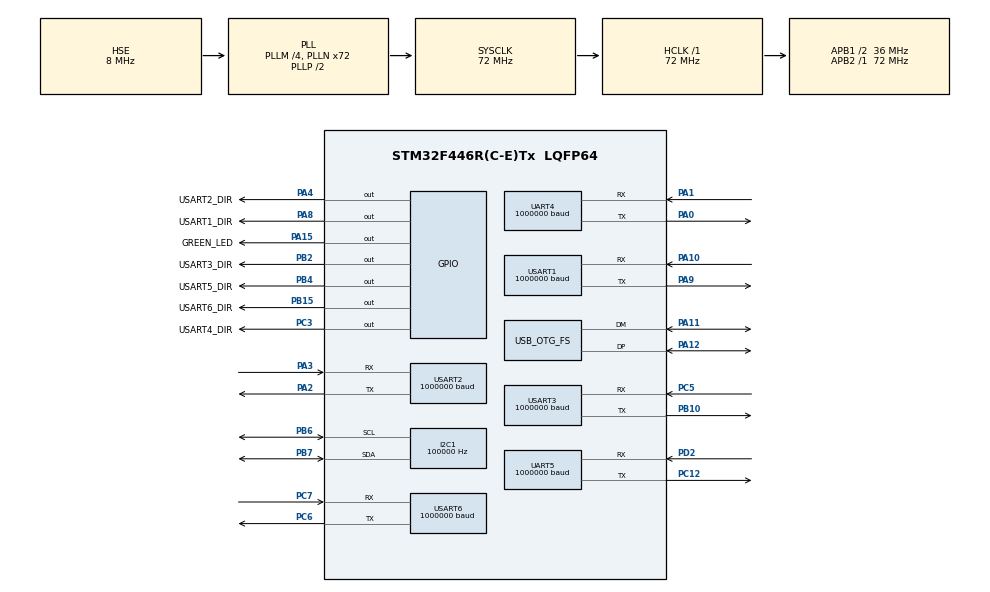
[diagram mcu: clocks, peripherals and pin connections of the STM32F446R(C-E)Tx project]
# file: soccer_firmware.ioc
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Dma.Request0=USART1_RX
Dma.Request1=UART4_RX
Dma.Request10=USART3_TX
Dma.Request11=USART6_TX
Dma.Request2=UART5_RX
Dma.Request3=USART2_RX
Dma.Request4=USART3_RX
Dma.Request5=USART6_RX
Dma.Request6=UART4_TX
Dma.Request7=UART5_TX
Dma.Request8=USART1_TX
Dma.Request9=USART2_TX
Dma.UART4_RX.1.Direction=DMA_PERIPH_TO_MEMORY
Dma.UART4_RX.1.FIFOMode=DMA_FIFOMODE_DISABLE
Dma.UART4_RX.1.Instance=DMA1_Stream2
Dma.UART4_RX.1.MemDataAlignment=DMA_MDATAALIGN_BYTE
Dma.UART4_RX.1.MemInc=DMA_MINC_ENABLE
Dma.UART4_RX.1.Mode=DMA_NORMAL
Dma.UART4_RX.1.PeriphDataAlignment=DMA_PDATAALIGN_BYTE
Dma.UART4_RX.1.PeriphInc=DMA_PINC_DISABLE
Dma.UART4_RX.1.Priority=DMA_PRIORITY_HIGH
Dma.UART4_TX.6.Direction=DMA_MEMORY_TO_PERIPH
Dma.UART4_TX.6.FIFOMode=DMA_FIFOMODE_DISABLE
Dma.UART4_TX.6.Instance=DMA1_Stream4
Dma.UART4_TX.6.MemDataAlignment=DMA_MDATAALIGN_BYTE
Dma.UART4_TX.6.MemInc=DMA_MINC_ENABLE
Dma.UART4_TX.6.Mode=DMA_NORMAL
Dma.UART4_TX.6.PeriphDataAlignment=DMA_PDATAALIGN_BYTE
Dma.UART4_TX.6.PeriphInc=DMA_PINC_DISABLE
Dma.UART4_TX.6.Priority=DMA_PRIORITY_HIGH
Dma.UART5_RX.2.Direction=DMA_PERIPH_TO_MEMORY
Dma.UART5_RX.2.FIFOMode=DMA_FIFOMODE_DISABLE
Dma.UART5_RX.2.Instance=DMA1_Stream0
Dma.UART5_RX.2.MemDataAlignment=DMA_MDATAALIGN_BYTE
Dma.UART5_RX.2.MemInc=DMA_MINC_ENABLE
Dma.UART5_RX.2.Mode=DMA_NORMAL
Dma.UART5_RX.2.PeriphDataAlignment=DMA_PDATAALIGN_BYTE
Dma.UART5_RX.2.PeriphInc=DMA_PINC_DISABLE
Dma.UART5_RX.2.Priority=DMA_PRIORITY_HIGH
Dma.UART5_TX.7.Direction=DMA_MEMORY_TO_PERIPH
Dma.UART5_TX.7.FIFOMode=DMA_FIFOMODE_DISABLE
Dma.UART5_TX.7.Instance=DMA1_Stream7
Dma.UART5_TX.7.MemDataAlignment=DMA_MDATAALIGN_BYTE
Dma.UART5_TX.7.MemInc=DMA_MINC_ENABLE
Dma.UART5_TX.7.Mode=DMA_NORMAL
Dma.UART5_TX.7.PeriphDataAlignment=DMA_PDATAALIGN_BYTE
Dma.UART5_TX.7.PeriphInc=DMA_PINC_DISABLE
Dma.UART5_TX.7.Priority=DMA_PRIORITY_HIGH
Dma.USART1_RX.0.Direction=DMA_PERIPH_TO_MEMORY
Dma.USART1_RX.0.FIFOMode=DMA_FIFOMODE_DISABLE
Dma.USART1_RX.0.Instance=DMA2_Stream2
Dma.USART1_RX.0.MemDataAlignment=DMA_MDATAALIGN_BYTE
Dma.USART1_RX.0.MemInc=DMA_MINC_ENABLE
Dma.USART1_RX.0.Mode=DMA_NORMAL
Dma.USART1_RX.0.PeriphDataAlignment=DMA_PDATAALIGN_BYTE
Dma.USART1_RX.0.PeriphInc=DMA_PINC_DISABLE
Dma.USART1_RX.0.Priority=DMA_PRIORITY_HIGH
Dma.USART1_TX.8.Direction=DMA_MEMORY_TO_PERIPH
Dma.USART1_TX.8.FIFOMode=DMA_FIFOMODE_DISABLE
Dma.USART1_TX.8.Instance=DMA2_Stream7
Dma.USART1_TX.8.MemDataAlignment=DMA_MDATAALIGN_BYTE
Dma.USART1_TX.8.MemInc=DMA_MINC_ENABLE
Dma.USART1_TX.8.Mode=DMA_NORMAL
Dma.USART1_TX.8.PeriphDataAlignment=DMA_PDATAALIGN_BYTE
Dma.USART1_TX.8.PeriphInc=DMA_PINC_DISABLE
Dma.USART1_TX.8.Priority=DMA_PRIORITY_HIGH
Dma.USART2_RX.3.Direction=DMA_PERIPH_TO_MEMORY
Dma.USART2_RX.3.FIFOMode=DMA_FIFOMODE_DISABLE
Dma.USART2_RX.3.Instance=DMA1_Stream5
Dma.USART2_RX.3.MemDataAlignment=DMA_MDATAALIGN_BYTE
Dma.USART2_RX.3.MemInc=DMA_MINC_ENABLE
Dma.USART2_RX.3.Mode=DMA_NORMAL
Dma.USART2_RX.3.PeriphDataAlignment=DMA_PDATAALIGN_BYTE
Dma.USART2_RX.3.PeriphInc=DMA_PINC_DISABLE
Dma.USART2_RX.3.Priority=DMA_PRIORITY_HIGH
Dma.USART2_TX.9.Direction=DMA_MEMORY_TO_PERIPH
Dma.USART2_TX.9.FIFOMode=DMA_FIFOMODE_DISABLE
Dma.USART2_TX.9.Instance=DMA1_Stream6
Dma.USART2_TX.9.MemDataAlignment=DMA_MDATAALIGN_BYTE
Dma.USART2_TX.9.MemInc=DMA_MINC_ENABLE
Dma.USART2_TX.9.Mode=DMA_NORMAL
Dma.USART2_TX.9.PeriphDataAlignment=DMA_PDATAALIGN_BYTE
Dma.USART2_TX.9.PeriphInc=DMA_PINC_DISABLE
Dma.USART2_TX.9.Priority=DMA_PRIORITY_HIGH
Dma.USART3_RX.4.Direction=DMA_PERIPH_TO_MEMORY
Dma.USART3_RX.4.FIFOMode=DMA_FIFOMODE_DISABLE
Dma.USART3_RX.4.Instance=DMA1_Stream1
Dma.USART3_RX.4.MemDataAlignment=DMA_MDATAALIGN_BYTE
Dma.USART3_RX.4.MemInc=DMA_MINC_ENABLE
Dma.USART3_RX.4.Mode=DMA_NORMAL
Dma.USART3_RX.4.PeriphDataAlignment=DMA_PDATAALIGN_BYTE
Dma.USART3_RX.4.PeriphInc=DMA_PINC_DISABLE
Dma.USART3_RX.4.Priority=DMA_PRIORITY_HIGH
Dma.USART3_TX.10.Direction=DMA_MEMORY_TO_PERIPH
Dma.USART3_TX.10.FIFOMode=DMA_FIFOMODE_DISABLE
Dma.USART3_TX.10.Instance=DMA1_Stream3
Dma.USART3_TX.10.MemDataAlignment=DMA_MDATAALIGN_BYTE
Dma.USART3_TX.10.MemInc=DMA_MINC_ENABLE
Dma.USART3_TX.10.Mode=DMA_NORMAL
Dma.USART3_TX.10.PeriphDataAlignment=DMA_PDATAALIGN_BYTE
Dma.USART3_TX.10.PeriphInc=DMA_PINC_DISABLE
Dma.USART3_TX.10.Priority=DMA_PRIORITY_HIGH
Dma.USART6_RX.5.Direction=DMA_PERIPH_TO_MEMORY
Dma.USART6_RX.5.FIFOMode=DMA_FIFOMODE_DISABLE
Dma.USART6_RX.5.Instance=DMA2_Stream1
Dma.USART6_RX.5.MemDataAlignment=DMA_MDATAALIGN_BYTE
Dma.USART6_RX.5.MemInc=DMA_MINC_ENABLE
Dma.USART6_RX.5.Mode=DMA_NORMAL
Dma.USART6_RX.5.PeriphDataAlignment=DMA_PDATAALIGN_BYTE
Dma.USART6_RX.5.PeriphInc=DMA_PINC_DISABLE
Dma.USART6_RX.5.Priority=DMA_PRIORITY_HIGH
Dma.USART6_TX.11.Direction=DMA_MEMORY_TO_PERIPH
Dma.USART6_TX.11.FIFOMode=DMA_FIFOMODE_DISABLE
Dma.USART6_TX.11.Instance=DMA2_Stream6
Dma.USART6_TX.11.MemDataAlignment=DMA_MDATAALIGN_BYTE
Dma.USART6_TX.11.MemInc=DMA_MINC_ENABLE
Dma.USART6_TX.11.Mode=DMA_NORMAL
Dma.USART6_TX.11.PeriphDataAlignment=DMA_PDATAALIGN_BYTE
Dma.USART6_TX.11.PeriphInc=DMA_PINC_DISABLE
Dma.USART6_TX.11.Priority=DMA_PRIORITY_HIGH
I2C1.ClockSpeed=100000
Mcu.Family=STM32F4
Mcu.Name=STM32F446R(C-E)Tx
Mcu.Package=LQFP64
NVIC.DMA1_Stream0_IRQn=true\:0\:0\:false\:false\:true\:false\:true\:true
NVIC.DMA1_Stream1_IRQn=true\:0\:0\:false\:false\:true\:false\:true\:true
NVIC.DMA1_Stream2_IRQn=true\:0\:0\:false\:false\:true\:false\:true\:true
NVIC.DMA1_Stream3_IRQn=true\:0\:0\:false\:false\:true\:false\:true\:true
NVIC.DMA1_Stream4_IRQn=true\:0\:0\:false\:false\:true\:false\:true\:true
NVIC.DMA1_Stream5_IRQn=true\:0\:0\:false\:false\:true\:false\:true\:true
NVIC.DMA1_Stream6_IRQn=true\:0\:0\:false\:false\:true\:false\:true\:true
NVIC.DMA1_Stream7_IRQn=true\:0\:0\:false\:false\:true\:false\:true\:true
NVIC.DMA2_Stream1_IRQn=true\:0\:0\:false\:false\:true\:false\:true\:true
NVIC.DMA2_Stream2_IRQn=true\:0\:0\:false\:false\:true\:false\:true\:true
NVIC.DMA2_Stream6_IRQn=true\:0\:0\:false\:false\:true\:false\:true\:true
NVIC.DMA2_Stream7_IRQn=true\:0\:0\:false\:false\:true\:false\:true\:true
NVIC.I2C1_EV_IRQn=true\:0\:0\:false\:false\:true\:true\:true\:true
NVIC.OTG_FS_IRQn=true\:0\:0\:false\:false\:true\:false\:true\:true
NVIC.PriorityGroup=NVIC_PRIORITYGROUP_4
PA0-WKUP.Mode=Asynchronous
PA0-WKUP.Signal=UART4_TX
PA1.Mode=Asynchronous
PA1.Signal=UART4_RX
PA10.Mode=Asynchronous
PA10.Signal=USART1_RX
PA11.Mode=Device_Only
PA11.Signal=USB_OTG_FS_DM
PA12.Mode=Device_Only
PA12.Signal=USB_OTG_FS_DP
PA13.Mode=Serial_Wire
PA13.Signal=SYS_JTMS-SWDIO
PA14.Mode=Serial_Wire
PA14.Signal=SYS_JTCK-SWCLK
PA15.GPIO_Label=GREEN_LED
PA15.Signal=GPIO_Output
PA2.Mode=Asynchronous
PA2.Signal=USART2_TX
PA3.Mode=Asynchronous
PA3.Signal=USART2_RX
PA4.GPIO_Label=USART2_DIR
PA4.Signal=GPIO_Output
PA8.GPIO_Label=USART1_DIR
PA8.Signal=GPIO_Output
PA9.Mode=Asynchronous
PA9.Signal=USART1_TX
PB10.Mode=Asynchronous
PB10.Signal=USART3_TX
PB15.GPIO_Label=USART6_DIR
PB15.Signal=GPIO_Output
PB2.GPIO_Label=USART3_DIR
PB2.Signal=GPIO_Output
PB4.GPIO_Label=USART5_DIR
PB4.Signal=GPIO_Output
PB6.Mode=I2C
PB6.Signal=I2C1_SCL
PB7.Mode=I2C
PB7.Signal=I2C1_SDA
PC12.Mode=Asynchronous
PC12.Signal=UART5_TX
PC3.GPIO_Label=USART4_DIR
PC3.Signal=GPIO_Output
PC5.Mode=Asynchronous
PC5.Signal=USART3_RX
PC6.Mode=Asynchronous
PC6.Signal=USART6_TX
PC7.Mode=Asynchronous
PC7.Signal=USART6_RX
PD2.Mode=Asynchronous
PD2.Signal=UART5_RX
PH0-OSC_IN.Mode=HSE-External-Oscillator
PH0-OSC_IN.Signal=RCC_OSC_IN
PH1-OSC_OUT.Mode=HSE-External-Oscillator
PH1-OSC_OUT.Signal=RCC_OSC_OUT
ProjectManager.HeapSize=0x200
ProjectManager.StackSize=0x400
ProjectManager.TargetToolchain=STM32CubeIDE
RCC.AHBFreq_Value=72000000
RCC.APB1CLKDivider=RCC_HCLK_DIV2
RCC.APB1Freq_Value=36000000
RCC.APB1TimFreq_Value=72000000
RCC.APB2Freq_Value=72000000
RCC.APB2TimFreq_Value=72000000
RCC.CortexFreq_Value=72000000
RCC.HCLKFreq_Value=72000000
RCC.HSE_VALUE=8000000
RCC.PLLM=4
RCC.PLLN=72
RCC.PLLQ=3
RCC.SYSCLKFreq_VALUE=72000000
RCC.SYSCLKSource=RCC_SYSCLKSOURCE_PLLCLK
RCC.USBFreq_Value=48000000
RCC.VCOOutputFreq_Value=144000000
UART4.BaudRate=1000000
UART4.VirtualMode=Asynchronous
UART5.BaudRate=1000000
UART5.VirtualMode=Asynchronous
USART1.BaudRate=1000000
USART1.VirtualMode=VM_ASYNC
USART2.BaudRate=1000000
USART2.VirtualMode=VM_ASYNC
USART3.BaudRate=1000000
USART3.VirtualMode=VM_ASYNC
USART6.BaudRate=1000000
USART6.VirtualMode=VM_ASYNC
USB_DEVICE.CLASS_NAME_FS=CDC
USB_DEVICE.VirtualMode-CDC_FS=Cdc
USB_DEVICE.VirtualModeFS=Cdc_FS
USB_OTG_FS.VirtualMode=Device_Only
VP_USB_DEVICE_VS_USB_DEVICE_CDC_FS.Mode=CDC_FS
board=custom

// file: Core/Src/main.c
/* USER CODE BEGIN Header */
/**
  ******************************************************************************
  * @file           : main.c
  * @brief          : Main program body
  ******************************************************************************
  * @attention
  *
  * Copyright (c) 2023 STMicroelectronics.
  * All rights reserved.
  *
  * This software is licensed under terms that can be found in the LICENSE file
  * in the root directory of this software component.
  * If no LICENSE file comes with this software, it is provided AS-IS.
  *
  ******************************************************************************
  */
/* USER CODE END Header */
#include "main.h"
#include "usb_device.h"

/* USER CODE BEGIN Includes */
#include "BMI088.h"
/* USER CODE END Includes */

I2C_HandleTypeDef hi2c1;

UART_HandleTypeDef huart4;
UART_HandleTypeDef huart5;
UART_HandleTypeDef huart1;
UART_HandleTypeDef huart2;
UART_HandleTypeDef huart3;
UART_HandleTypeDef huart6;
DMA_HandleTypeDef hdma_uart4_rx;
DMA_HandleTypeDef hdma_uart4_tx;
DMA_HandleTypeDef hdma_uart5_rx;
DMA_HandleTypeDef hdma_uart5_tx;
DMA_HandleTypeDef hdma_usart1_rx;
DMA_HandleTypeDef hdma_usart1_tx;
DMA_HandleTypeDef hdma_usart2_rx;
DMA_HandleTypeDef hdma_usart2_tx;
DMA_HandleTypeDef hdma_usart3_rx;
DMA_HandleTypeDef hdma_usart3_tx;
DMA_HandleTypeDef hdma_usart6_rx;
DMA_HandleTypeDef hdma_usart6_tx;

/* USER CODE BEGIN PV */
uint8_t usb_received = false;
uint32_t usbRxBufferCount = 0;
uint32_t usbRxBufferSize = 0;
uint8_t usbRxBuffer[100];

MotorPort* motorPorts[6];
MotorPort port1, port2, port3, port4, port5, port6;
/* USER CODE END PV */

void SystemClock_Config(void);
static void MX_GPIO_Init(void);
static void MX_DMA_Init(void);
static void MX_UART4_Init(void);
static void MX_UART5_Init(void);
static void MX_USART1_UART_Init(void);
static void MX_USART2_UART_Init(void);
static void MX_USART3_UART_Init(void);
static void MX_USART6_UART_Init(void);
static void MX_I2C1_Init(void);

/* USER CODE BEGIN 0 */
// test various functionalities
void init_ports() {
  // port1 => UART1 ==> J2 on new PCB
  port1 = (MotorPort){
    .huart          = &huart1,
    .hdma_uart_tx   = &hdma_usart1_tx,
    .hdma_uart_rx   = &hdma_usart1_rx ,
    .pinPort        = USART1_DIR_GPIO_Port,
    .dirPinNum      = USART1_DIR_Pin,
    .dmaDoneReading = false,
    .currMotor      = 0,
    .numMotors      = 5,
    .motorIds       = {0, 1, 18, 16, 17}, // left arm chain + bottom neck motor
    .protocol       = {2, 2, 2, 2, 2}
  };

  // port2 => UART2 ==> J7 on new PCB
  port2 = (MotorPort){
      .huart          = &huart2,
      .hdma_uart_tx   = &hdma_usart2_tx,
      .hdma_uart_rx   = &hdma_usart2_rx ,
      .pinPort        = USART2_DIR_GPIO_Port,
      .dirPinNum      = USART2_DIR_Pin,
      .dmaDoneReading = false,
      .currMotor      = 0,
      .numMotors      = 3,
      .motorIds       = {2, 3, 19}, // right arm chain + top neck motor
      .protocol       = {2, 2, 2}
    };

  // port3 => UART3 ==> J12 on new PCB
  port3 = (MotorPort){
      .huart          = &huart3,
      .hdma_uart_tx   = &hdma_usart3_tx,
      .hdma_uart_rx   = &hdma_usart3_rx ,
      .pinPort        = USART3_DIR_GPIO_Port,
      .dirPinNum      = USART3_DIR_Pin,
      .dmaDoneReading = false,
      .numMotors      = 3,
      .motorIds       = {4, 5, 6}, // left hip
      .protocol       = {2, 2, 2}
    };

  // port4 => UART4 ==> J3 on new PCB
  port4 = (MotorPort){
      .huart          = &huart4,
      .hdma_uart_tx   = &hdma_uart4_tx,
      .hdma_uart_rx   = &hdma_uart4_rx ,
      .pinPort        = USART4_DIR_GPIO_Port,
      .dirPinNum      = USART4_DIR_Pin,
      .dmaDoneReading = false,
      .numMotors      = 3,
      .motorIds       = {7, 8, 9}, // left leg
      .protocol       = {2, 2, 2}
    };

  // port5 => UART5 ==> J6 on new PCB
  port5 = (MotorPort){
      .huart          = &huart5,
      .hdma_uart_tx   = &hdma_uart5_tx,
      .hdma_uart_rx   = &hdma_uart5_rx,
      .pinPort        = USART5_DIR_GPIO_Port,
      .dirPinNum      = USART5_DIR_Pin,
      .dmaDoneReading = false,
      .numMotors      = 3,
      .motorIds       = {10, 11, 12}, // right hip
      .protocol       = {2,2,2}
    };

  // port6 => UART6 ==> J11 on new PCB
  port6 = (MotorPort){
      .huart          = &huart6,
      .hdma_uart_tx   = &hdma_usart6_tx,
      .hdma_uart_rx   = &hdma_usart6_rx ,
      .pinPort        = USART6_DIR_GPIO_Port,
      .dirPinNum      = USART6_DIR_Pin,
      .dmaDoneReading = false,
      .numMotors      = 3,
      .motorIds       = {13, 14, 15}, // right leg
      .protocol       = {2, 2, 2}
    };

  motorPorts[0] = &port1;
  motorPorts[1] = &port2;
  motorPorts[2] = &port3;
  motorPorts[3] = &port4;
  motorPorts[4] = &port5;
  motorPorts[5] = &port6;
}

void init_motors() {
  for(uint8_t p = 0; p < 6; p++)
  {
	  uint8_t numMotors = motorPorts[p]->numMotors;
	  for(uint8_t m = 0; m < numMotors; m++)
	  {
	    uint8_t motorId = motorPorts[p]->motorIds[m];
	    uint8_t protocol = motorPorts[p]->protocol[m];

		// Enable Torques
		if(protocol == 1)
		  motor_torque_en_p1(motorPorts[p], motorId, 1);
		else
		  motor_torque_en_p2(motorPorts[p], motorId, 1);

		HAL_Delay(20);
	  }

  // TODO: set PIDs

  // TODO: response latency

  // TODO: zero motors
  // slowly bring motors to zero position
  }
}

/* USER CODE END 0 */

int main(void)
{

  /* MCU Configuration--------------------------------------------------------*/

  /* Reset of all peripherals, Initializes the Flash interface and the Systick. */
  HAL_Init();

  /* Configure the system clock */
  SystemClock_Config();

  /* Initialize all configured peripherals */
  MX_GPIO_Init();
  MX_DMA_Init();
  MX_USB_DEVICE_Init();
  MX_UART4_Init();
  MX_UART5_Init();
  MX_USART1_UART_Init();
  MX_USART2_UART_Init();
  MX_USART3_UART_Init();
  MX_USART6_UART_Init();
  MX_I2C1_Init();
  /* USER CODE BEGIN 2 */
  // give some time for motors to power on and initialize, before we try to talk to them
  HAL_Delay(1000);

  init_ports();
//  MPU6050_init();
  init_motors();

  BMI088 imu;
  BMI088_Init(&imu, &hi2c1);

//  uint16_t angle = 0;
//  uint16_t angle_lo = 0;
//  uint16_t angle_hi = 0;

  /* USER CODE END 2 */

  /* Infinite loop */
  /* USER CODE BEGIN WHILE */
  while (1)
  {

      update();

//    angle += 1;
//    angle %= 0x3FF;
//    angle_lo = angle & 0xFF;
//    angle_hi = (angle >> 8) & 0xFF;
//
//    write_goal_position_p2(motorPorts[4], 1, angle);
//    write_goal_position_p2(motorPorts[4], 32, angle);
//    write_goal_position_p2(motorPorts[4], 27, angle);
//
//    write_goal_position_p2(motorPorts[3], 3, angle);
//    write_goal_position_p2(motorPorts[3], 4, angle); // range 212 - 122
//    write_goal_position_p2(motorPorts[3], 10, angle);
//
//    write_goal_position_p2(motorPorts[2], 1, angle);
//    write_goal_position_p2(motorPorts[2], 22, angle);
//    write_goal_position_p2(motorPorts[2], 21, angle);
//
//    write_goal_position_p2(motorPorts[1], 26, angle);
//    write_goal_position_p2(motorPorts[1], 31, angle);
//    write_goal_position_p2(motorPorts[1], 30, angle);
//
//    write_goal_position_p2(motorPorts[0], 23, angle);
//    write_goal_position_p2(motorPorts[0], 24, angle);
//    write_goal_position_p2(motorPorts[0], 28, angle);
//    write_goal_position_p2(motorPorts[0], 29, angle);
//    write_goal_position_p2(motorPorts[0], 34, angle);
//    write_goal_position_p2(motorPorts[0], 33, angle);

//    // test Dynamixel 2.0
//    test_led_p2(&port6, 0x1);
//    test_motor_sweep2(&port6);
//    HAL_Delay(9000);

//    test_led_p2(&port4, 0x1);
//    test_motor_sweep2(&port4);
//    test_ping2(&port2);
//    motor_torque_en_p2(&port2, 0xfe, 0);
//    update_baud_rate_p2(&port2, 0x1, 3);
//    update_motor_id_p2(&port2, 0x1, 0x3);
//    test_led_p2(&port2);
//    read_motor_present_position(&port2, 0x1);
//    update_motor_id_p2(&port2, 0x1, 0x2);
//    read_motor_id(&port2);
//    uint8_t a1 = port2.rxBuffer[9];
//    uint8_t a2 = port2.rxBuffer[10];
//    uint8_t a3 = port2.rxBuffer[11];
//    uint8_t a4 = port2.rxBuffer[12];
//    _motor_get_status_p2(&port2, 11);
//    while(port2.dmaDoneReading == false){
//    }
//    port2.rxBuffer[0];
//    HAL_Delay(100);

    // test Dynamixel 1.0
//    test_motor_sweep1(&port2, 13);
//    _motor_ping_p1(&port6, 13);
//	  HAL_GPIO_TogglePin(GPIOA, GREEN_LED_Pin);
//	  HAL_Delay(50);
    /* USER CODE END WHILE */

  }
}

void SystemClock_Config(void)
{
  RCC_OscInitTypeDef RCC_OscInitStruct = {0};
  RCC_ClkInitTypeDef RCC_ClkInitStruct = {0};

  /** Configure the main internal regulator output voltage
  */
  __HAL_RCC_PWR_CLK_ENABLE();
  __HAL_PWR_VOLTAGESCALING_CONFIG(PWR_REGULATOR_VOLTAGE_SCALE3);

  /** Initializes the RCC Oscillators according to the specified parameters
  * in the RCC_OscInitTypeDef structure.
  */
  RCC_OscInitStruct.OscillatorType = RCC_OSCILLATORTYPE_HSE;
  RCC_OscInitStruct.HSEState = RCC_HSE_ON;
  RCC_OscInitStruct.PLL.PLLState = RCC_PLL_ON;
  RCC_OscInitStruct.PLL.PLLSource = RCC_PLLSOURCE_HSE;
  RCC_OscInitStruct.PLL.PLLM = 4;
  RCC_OscInitStruct.PLL.PLLN = 72;
  RCC_OscInitStruct.PLL.PLLP = RCC_PLLP_DIV2;
  RCC_OscInitStruct.PLL.PLLQ = 3;
  RCC_OscInitStruct.PLL.PLLR = 2;
  if (HAL_RCC_OscConfig(&RCC_OscInitStruct) != HAL_OK)
  {
    Error_Handler();
  }

  /** Initializes the CPU, AHB and APB buses clocks
  */
  RCC_ClkInitStruct.ClockType = RCC_CLOCKTYPE_HCLK|RCC_CLOCKTYPE_SYSCLK
                              |RCC_CLOCKTYPE_PCLK1|RCC_CLOCKTYPE_PCLK2;
  RCC_ClkInitStruct.SYSCLKSource = RCC_SYSCLKSOURCE_PLLCLK;
  RCC_ClkInitStruct.AHBCLKDivider = RCC_SYSCLK_DIV1;
  RCC_ClkInitStruct.APB1CLKDivider = RCC_HCLK_DIV2;
  RCC_ClkInitStruct.APB2CLKDivider = RCC_HCLK_DIV1;

  if (HAL_RCC_ClockConfig(&RCC_ClkInitStruct, FLASH_LATENCY_2) != HAL_OK)
  {
    Error_Handler();
  }
}

static void MX_I2C1_Init(void)
{

  hi2c1.Instance = I2C1;
  hi2c1.Init.ClockSpeed = 100000;
  hi2c1.Init.DutyCycle = I2C_DUTYCYCLE_2;
  hi2c1.Init.OwnAddress1 = 0;
  hi2c1.Init.AddressingMode = I2C_ADDRESSINGMODE_7BIT;
  hi2c1.Init.DualAddressMode = I2C_DUALADDRESS_DISABLE;
  hi2c1.Init.OwnAddress2 = 0;
  hi2c1.Init.GeneralCallMode = I2C_GENERALCALL_DISABLE;
  hi2c1.Init.NoStretchMode = I2C_NOSTRETCH_DISABLE;
  if (HAL_I2C_Init(&hi2c1) != HAL_OK)
  {
    Error_Handler();
  }

}

static void MX_UART4_Init(void)
{

  huart4.Instance = UART4;
  huart4.Init.BaudRate = 1000000;
  huart4.Init.WordLength = UART_WORDLENGTH_8B;
  huart4.Init.StopBits = UART_STOPBITS_1;
  huart4.Init.Parity = UART_PARITY_NONE;
  huart4.Init.Mode = UART_MODE_TX_RX;
  huart4.Init.HwFlowCtl = UART_HWCONTROL_NONE;
  huart4.Init.OverSampling = UART_OVERSAMPLING_16;
  if (HAL_UART_Init(&huart4) != HAL_OK)
  {
    Error_Handler();
  }

}

static void MX_UART5_Init(void)
{

  huart5.Instance = UART5;
  huart5.Init.BaudRate = 1000000;
  huart5.Init.WordLength = UART_WORDLENGTH_8B;
  huart5.Init.StopBits = UART_STOPBITS_1;
  huart5.Init.Parity = UART_PARITY_NONE;
  huart5.Init.Mode = UART_MODE_TX_RX;
  huart5.Init.HwFlowCtl = UART_HWCONTROL_NONE;
  huart5.Init.OverSampling = UART_OVERSAMPLING_16;
  if (HAL_UART_Init(&huart5) != HAL_OK)
  {
    Error_Handler();
  }

}

static void MX_USART1_UART_Init(void)
{

  huart1.Instance = USART1;
  huart1.Init.BaudRate = 1000000;
  huart1.Init.WordLength = UART_WORDLENGTH_8B;
  huart1.Init.StopBits = UART_STOPBITS_1;
  huart1.Init.Parity = UART_PARITY_NONE;
  huart1.Init.Mode = UART_MODE_TX_RX;
  huart1.Init.HwFlowCtl = UART_HWCONTROL_NONE;
  huart1.Init.OverSampling = UART_OVERSAMPLING_16;
  if (HAL_UART_Init(&huart1) != HAL_OK)
  {
    Error_Handler();
  }

}

static void MX_USART2_UART_Init(void)
{

  huart2.Instance = USART2;
  huart2.Init.BaudRate = 1000000;
  huart2.Init.WordLength = UART_WORDLENGTH_8B;
  huart2.Init.StopBits = UART_STOPBITS_1;
  huart2.Init.Parity = UART_PARITY_NONE;
  huart2.Init.Mode = UART_MODE_TX_RX;
  huart2.Init.HwFlowCtl = UART_HWCONTROL_NONE;
  huart2.Init.OverSampling = UART_OVERSAMPLING_16;
  if (HAL_UART_Init(&huart2) != HAL_OK)
  {
    Error_Handler();
  }

}

static void MX_USART3_UART_Init(void)
{

  huart3.Instance = USART3;
  huart3.Init.BaudRate = 1000000;
  huart3.Init.WordLength = UART_WORDLENGTH_8B;
  huart3.Init.StopBits = UART_STOPBITS_1;
  huart3.Init.Parity = UART_PARITY_NONE;
  huart3.Init.Mode = UART_MODE_TX_RX;
  huart3.Init.HwFlowCtl = UART_HWCONTROL_NONE;
  huart3.Init.OverSampling = UART_OVERSAMPLING_16;
  if (HAL_UART_Init(&huart3) != HAL_OK)
  {
    Error_Handler();
  }

}

static void MX_USART6_UART_Init(void)
{

  huart6.Instance = USART6;
  huart6.Init.BaudRate = 1000000;
  huart6.Init.WordLength = UART_WORDLENGTH_8B;
  huart6.Init.StopBits = UART_STOPBITS_1;
  huart6.Init.Parity = UART_PARITY_NONE;
  huart6.Init.Mode = UART_MODE_TX_RX;
  huart6.Init.HwFlowCtl = UART_HWCONTROL_NONE;
  huart6.Init.OverSampling = UART_OVERSAMPLING_16;
  if (HAL_UART_Init(&huart6) != HAL_OK)
  {
    Error_Handler();
  }

}

static void MX_DMA_Init(void)
{

  /* DMA controller clock enable */
  __HAL_RCC_DMA2_CLK_ENABLE();
  __HAL_RCC_DMA1_CLK_ENABLE();

  /* DMA interrupt init */
  /* DMA1_Stream0_IRQn interrupt configuration */
  HAL_NVIC_SetPriority(DMA1_Stream0_IRQn, 0, 0);
  HAL_NVIC_EnableIRQ(DMA1_Stream0_IRQn);
  /* DMA1_Stream1_IRQn interrupt configuration */
  HAL_NVIC_SetPriority(DMA1_Stream1_IRQn, 0, 0);
  HAL_NVIC_EnableIRQ(DMA1_Stream1_IRQn);
  /* DMA1_Stream2_IRQn interrupt configuration */
  HAL_NVIC_SetPriority(DMA1_Stream2_IRQn, 0, 0);
  HAL_NVIC_EnableIRQ(DMA1_Stream2_IRQn);
  /* DMA1_Stream3_IRQn interrupt configuration */
  HAL_NVIC_SetPriority(DMA1_Stream3_IRQn, 0, 0);
  HAL_NVIC_EnableIRQ(DMA1_Stream3_IRQn);
  /* DMA1_Stream4_IRQn interrupt configuration */
  HAL_NVIC_SetPriority(DMA1_Stream4_IRQn, 0, 0);
  HAL_NVIC_EnableIRQ(DMA1_Stream4_IRQn);
  /* DMA1_Stream5_IRQn interrupt configuration */
  HAL_NVIC_SetPriority(DMA1_Stream5_IRQn, 0, 0);
  HAL_NVIC_EnableIRQ(DMA1_Stream5_IRQn);
  /* DMA1_Stream6_IRQn interrupt configuration */
  HAL_NVIC_SetPriority(DMA1_Stream6_IRQn, 0, 0);
  HAL_NVIC_EnableIRQ(DMA1_Stream6_IRQn);
  /* DMA1_Stream7_IRQn interrupt configuration */
  HAL_NVIC_SetPriority(DMA1_Stream7_IRQn, 0, 0);
  HAL_NVIC_EnableIRQ(DMA1_Stream7_IRQn);
  /* DMA2_Stream1_IRQn interrupt configuration */
  HAL_NVIC_SetPriority(DMA2_Stream1_IRQn, 0, 0);
  HAL_NVIC_EnableIRQ(DMA2_Stream1_IRQn);
  /* DMA2_Stream2_IRQn interrupt configuration */
  HAL_NVIC_SetPriority(DMA2_Stream2_IRQn, 0, 0);
  HAL_NVIC_EnableIRQ(DMA2_Stream2_IRQn);
  /* DMA2_Stream6_IRQn interrupt configuration */
  HAL_NVIC_SetPriority(DMA2_Stream6_IRQn, 0, 0);
  HAL_NVIC_EnableIRQ(DMA2_Stream6_IRQn);
  /* DMA2_Stream7_IRQn interrupt configuration */
  HAL_NVIC_SetPriority(DMA2_Stream7_IRQn, 0, 0);
  HAL_NVIC_EnableIRQ(DMA2_Stream7_IRQn);

}

static void MX_GPIO_Init(void)
{
  GPIO_InitTypeDef GPIO_InitStruct = {0};

  /* GPIO Ports Clock Enable */
  __HAL_RCC_GPIOH_CLK_ENABLE();
  __HAL_RCC_GPIOC_CLK_ENABLE();
  __HAL_RCC_GPIOA_CLK_ENABLE();
  __HAL_RCC_GPIOB_CLK_ENABLE();
  __HAL_RCC_GPIOD_CLK_ENABLE();

  /*Configure GPIO pin Output Level */
  HAL_GPIO_WritePin(USART4_DIR_GPIO_Port, USART4_DIR_Pin, GPIO_PIN_RESET);

  /*Configure GPIO pin Output Level */
  HAL_GPIO_WritePin(GPIOA, USART2_DIR_Pin|USART1_DIR_Pin|GREEN_LED_Pin, GPIO_PIN_RESET);

  /*Configure GPIO pin Output Level */
  HAL_GPIO_WritePin(GPIOB, USART3_DIR_Pin|USART6_DIR_Pin|USART5_DIR_Pin, GPIO_PIN_RESET);

  /*Configure GPIO pin : USART4_DIR_Pin */
  GPIO_InitStruct.Pin = USART4_DIR_Pin;
  GPIO_InitStruct.Mode = GPIO_MODE_OUTPUT_PP;
  GPIO_InitStruct.Pull = GPIO_NOPULL;
  GPIO_InitStruct.Speed = GPIO_SPEED_FREQ_LOW;
  HAL_GPIO_Init(USART4_DIR_GPIO_Port, &GPIO_InitStruct);

  /*Configure GPIO pins : USART2_DIR_Pin USART1_DIR_Pin GREEN_LED_Pin */
  GPIO_InitStruct.Pin = USART2_DIR_Pin|USART1_DIR_Pin|GREEN_LED_Pin;
  GPIO_InitStruct.Mode = GPIO_MODE_OUTPUT_PP;
  GPIO_InitStruct.Pull = GPIO_NOPULL;
  GPIO_InitStruct.Speed = GPIO_SPEED_FREQ_LOW;
  HAL_GPIO_Init(GPIOA, &GPIO_InitStruct);

  /*Configure GPIO pins : USART3_DIR_Pin USART6_DIR_Pin USART5_DIR_Pin */
  GPIO_InitStruct.Pin = USART3_DIR_Pin|USART6_DIR_Pin|USART5_DIR_Pin;
  GPIO_InitStruct.Mode = GPIO_MODE_OUTPUT_PP;
  GPIO_InitStruct.Pull = GPIO_NOPULL;
  GPIO_InitStruct.Speed = GPIO_SPEED_FREQ_LOW;
  HAL_GPIO_Init(GPIOB, &GPIO_InitStruct);

}

void Error_Handler(void)
{
  __disable_irq();
  while (1)
  {
  }
}
